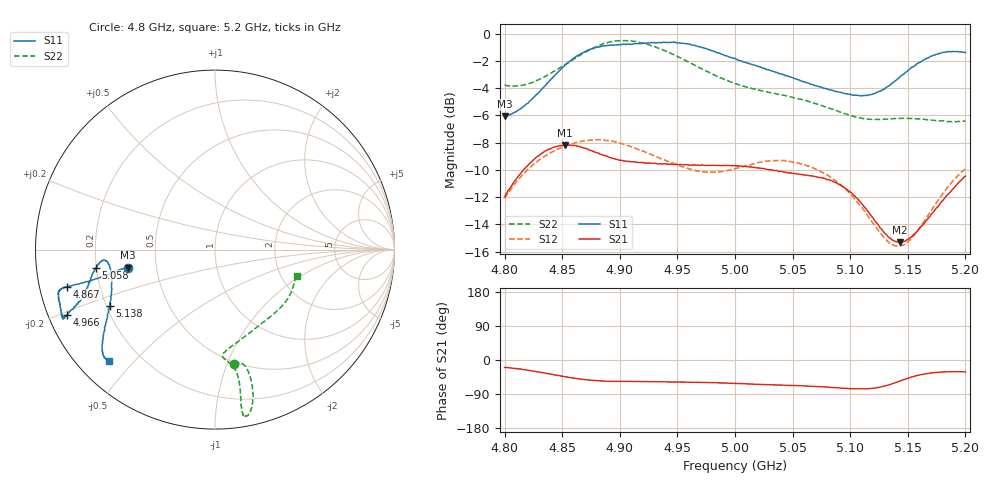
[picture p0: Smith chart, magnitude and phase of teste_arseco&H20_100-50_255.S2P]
! Network Analyzer HP8722D
! Hewlett-Packard
! Data name: Linha & Wilkinson
! Saver's name: Rodrigo Anjos
! Comments: Teste da utilização de aquisição
! continua pelo VNA HP8722D
! Time and date: 6/5/2025 14:41
!  Frequency  S11  S21  S12  S22
# HZ  S  MA R 50
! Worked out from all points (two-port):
!   401 points, 4.8 GHz to 5.2 GHz, reference 50 ohm
!   highest |S21| = -8.17 dB at 4.852 GHz (marker M1); lowest = -15.3 dB at 5.143 GHz (marker M2)
!   |S21| within 3 dB of the highest: 4.806 GHz to 5.093 GHz (286.5 MHz wide, 5.79 % of centre); 5.191666 GHz to end of sweep
!   lowest |S11| = -6.1 dB at 4.8 GHz (marker M3), VSWR 2.98, Z = 17 - j4.56 ohm
!   |S11| at or under -10 dB: nowhere
!   |S22| runs from -6.5 to -0.5 dB; largest |S21 - S12| = 0.62
!   S11 on the Smith chart (normalised r, x): 4.8 GHz: 0.34, -0.09; 4.867 GHz: 0.08, -0.12; 4.966 GHz: 0.05, -0.21; 5.058 GHz: 0.20, -0.07; 5.138 GHz: 0.21, -0.24; 5.2 GHz: 0.09, -0.43
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4.8e9  0.4969 -168.2  0.2522 -19.6  0.2484 -140.9  0.6484 -80.4
4.824e9  0.5779 -167.5  0.3412 -28.7  0.3285 -144.2  0.6623 -75.9
4.852e9  0.7635 -165.9  0.3905 -43.9  0.3872 -149.5  0.7688 -74.6
4.867e9  0.8481 -165.9  0.383 -50.8  0.4025 -152.0  0.8425 -75.4
4.88e9  0.891 -165.5  0.3652 -54.6  0.408 -154.2  0.899 -76.8
4.9e9  0.912 -162.7  0.3431 -56.4  0.3957 -156.5  0.9423 -79.1
4.915e9  0.921 -159.5  0.3371 -56.7  0.3774 -157.2  0.9346 -80.3
4.934e9  0.9288 -156.3  0.3325 -57.5  0.3504 -155.7  0.8831 -80.5
4.966e9  0.9038 -156.2  0.329 -58.8  0.3143 -148.4  0.7625 -79.6
5e9  0.8122 -159.0  0.3278 -61.9  0.3194 -137.2  0.6555 -81.3
5.036e9  0.7217 -165.7  0.3146 -66.0  0.3418 -134.5  0.6011 -85.6
5.058e9  0.671 -171.3  0.304 -68.0  0.332 -136.1  0.5732 -84.5
5.067e9  0.6515 -173.1  0.3008 -69.1  0.3225 -136.8  0.5585 -82.6
5.085e9  0.6189 -174.5  0.2864 -72.6  0.2934 -138.4  0.5287 -75.9
5.103e9  0.5946 -171.6  0.2554 -76.0  0.2498 -138.7  0.4973 -65.2
5.119e9  0.5991 -163.8  0.2124 -74.7  0.2035 -133.9  0.4843 -53.7
5.134e9  0.6449 -154.2  0.178 -65.2  0.1703 -120.7  0.4865 -43.4
5.138e9  0.6655 -151.8  0.1735 -61.3  0.1668 -115.5  0.4877 -40.9
5.143e9  0.6924 -149.3  0.1712 -55.8  0.1658 -109.0  0.4884 -37.9
5.154e9  0.7561 -144.5  0.1813 -44.4  0.1789 -95.0  0.488 -32.4
5.172e9  0.8332 -139.0  0.221 -33.6  0.2299 -81.2  0.481 -24.7
5.2e9  0.8539 -133.6  0.2998 -31.4  0.3192 -76.9  0.4779 -17.6
